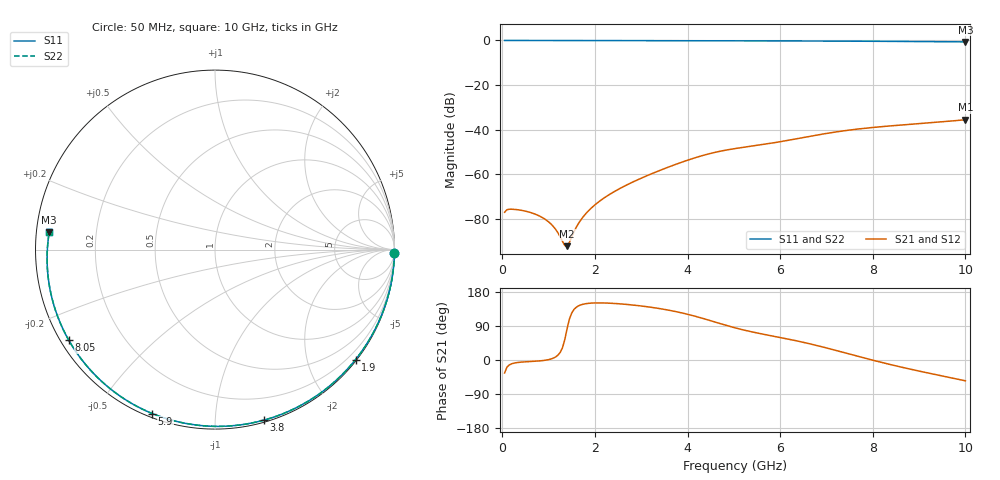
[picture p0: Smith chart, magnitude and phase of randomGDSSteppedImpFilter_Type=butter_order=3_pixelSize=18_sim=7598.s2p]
! freq	dB(S11)	phase(S11)	dB(S12)	phase(S12)
!  dB(S21)	phase(S21)	dB(S22)	phase(S22)
!S-par simulation data
#  GHz  S  DB  R 50
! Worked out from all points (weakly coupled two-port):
!   200 points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, 50 MHz to 10 GHz, reference 50 ohm
!   highest |S21| = -35.54 dB at 10 GHz (marker M1); lowest = -92.2 dB at 1.4 GHz (marker M2)
!   lowest |S11| = -0.6 dB at 10 GHz (marker M3), VSWR 27.05, Z = 1.85 + j2.6 ohm
!   |S11| at or under -10 dB: nowhere
!   |S22| runs from -0.6 to 0.0 dB; largest |S21 - S12| = 0
!   S11 on the Smith chart (normalised r, x): 50 MHz: open; 1.9 GHz: 0.03, -2.90; 3.8 GHz: 0.02, -1.33; 5.9 GHz: 0.02, -0.69; 8.05 GHz: 0.02, -0.28; 10 GHz: 0.04, +0.05
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0.05  -0.00 -1.0  -76.99 -34.2  -76.99 -34.2  -0.00 -1.0
0.1  -0.00 -2.0  -75.85 -19.0  -75.85 -19.0  -0.00 -2.0
0.3  -0.00 -6.1  -75.79 -7.1  -75.79 -7.1  -0.00 -6.1
0.65  -0.01 -13.2  -77.38 -3.7  -77.38 -3.7  -0.01 -13.2
0.9  -0.02 -18.2  -79.81 -1.1  -79.81 -1.1  -0.02 -18.2
1.4  -0.03 -28.2  -92.20 83.1  -92.20 83.1  -0.03 -28.2
1.7  -0.04 -34.1  -80.32 145.7  -80.32 145.7  -0.04 -34.1
1.75  -0.04 -35.1  -78.95 147.4  -78.95 147.4  -0.04 -35.1
1.9  -0.05 -38.0  -75.54 150.0  -75.54 150.0  -0.05 -38.0
2.15  -0.05 -42.9  -71.28 150.7  -71.28 150.7  -0.05 -42.9
2.5  -0.06 -49.6  -66.78 148.6  -66.78 148.6  -0.06 -49.6
2.9  -0.07 -57.2  -62.66 144.0  -62.66 144.0  -0.07 -57.2
3.4  -0.09 -66.6  -58.26 135.6  -58.26 135.6  -0.09 -66.6
3.8  -0.10 -73.9  -55.12 126.4  -55.12 126.4  -0.10 -73.9
4.45  -0.12 -85.6  -50.87 105.5  -50.87 105.5  -0.12 -85.7
5.05  -0.15 -96.2  -48.38 84.1  -48.38 84.1  -0.15 -96.3
5.9  -0.19 -111.0  -45.74 61.8  -45.74 61.8  -0.19 -111.0
6.7  -0.25 -124.7  -42.74 41.0  -42.74 41.0  -0.25 -124.7
8.05  -0.37 -148.2  -38.90 -2.1  -38.90 -2.1  -0.37 -148.2
8.35  -0.40 -153.6  -38.34 -11.2  -38.34 -11.2  -0.40 -153.6
9.2  -0.51 -169.6  -36.94 -34.5  -36.94 -34.5  -0.51 -169.6
10  -0.64 174.0  -35.54 -54.9  -35.54 -54.9  -0.64 174.0
